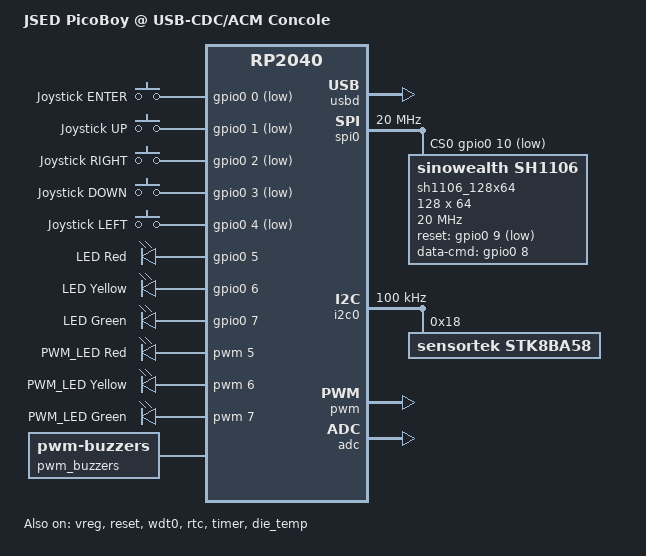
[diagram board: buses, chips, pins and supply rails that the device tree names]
/*
 * SPDX-FileCopyrightText: Copyright (c) 2023-2026 TiaC Systems
 * SPDX-License-Identifier: Apache-2.0
 */

/dts-v1/;

#include <freq.h>
#include <mem.h>

#include <raspberrypi/rpi_pico/rp2040.dtsi>
#include <raspberrypi/partitions_2M_default.dtsi>

#include <zephyr/dt-bindings/clock/rpi_pico_rp2040_clock.h>
#include <zephyr/dt-bindings/regulator/rpi_pico.h>

#include <zephyr/dt-bindings/gpio/gpio.h>
#include <zephyr/dt-bindings/i2c/i2c.h>
#include <zephyr/dt-bindings/pwm/pwm.h>

#include <zephyr/dt-bindings/input/input-event-codes.h>
#include <zephyr/dt-bindings/lvgl/lvgl.h>

#include <zephyr/dt-bindings/sensor/stk8ba58.h>

#include "picoboy-pinctrl.dtsi"

/ {
	model = "JSED PicoBoy @ USB-CDC/ACM Concole";
	compatible = "jsed,picoboy",
		     "jsed,picoboy-usbcons";

	chosen {
		zephyr,sram = &sram0;
		zephyr,flash = &flash0;
		zephyr,flash-controller = &ssi;
		zephyr,code-partition = &code_partition;
		zephyr,console = &cdc_acm_console_uart;
		zephyr,shell-uart = &cdc_acm_console_uart;
		zephyr,display = &oled_panel;
	};

	aliases {
		watchdog0 = &wdt0;
		sw0 = &joystick_enter;
		sw1 = &joystick_up;
		sw2 = &joystick_right;
		sw3 = &joystick_down;
		sw4 = &joystick_left;
		led0 = &led0;
		led1 = &led1;
		led2 = &led2;
		pwm-led0 = &pwm_led0;
		pwm-led1 = &pwm_led1;
		pwm-led2 = &pwm_led2;
		pwm-buzzer0 = &pwm_speaker0;
		accel0 = &stk8ba58;
	};

	lvgl_keypad: lvgl-keypad {
		compatible = "zephyr,lvgl-keypad-input";
		input = <&gpio_keys>;
		input-codes = <INPUT_KEY_LEFT INPUT_KEY_RIGHT
			       INPUT_KEY_UP INPUT_KEY_DOWN
			       INPUT_KEY_ENTER>;
		lvgl-codes = <LV_KEY_LEFT LV_KEY_RIGHT
			      LV_KEY_UP LV_KEY_DOWN
			      LV_KEY_ENTER>;
	};

	gpio_keys: gpio_keys {
		compatible = "gpio-keys";

		joystick_enter: joystick_enter {
			gpios = <&gpio0 0 (GPIO_PULL_UP | GPIO_ACTIVE_LOW)>;
			zephyr,code = <INPUT_KEY_ENTER>;
			label = "Joystick ENTER";
		};
		joystick_up: joystick_up {
			gpios = <&gpio0 1 (GPIO_PULL_UP | GPIO_ACTIVE_LOW)>;
			zephyr,code = <INPUT_KEY_UP>;
			label = "Joystick UP";
		};
		joystick_right: joystick_right {
			gpios = <&gpio0 2 (GPIO_PULL_UP | GPIO_ACTIVE_LOW)>;
			zephyr,code = <INPUT_KEY_RIGHT>;
			label = "Joystick RIGHT";
		};
		joystick_down: joystick_down {
			gpios = <&gpio0 3 (GPIO_PULL_UP | GPIO_ACTIVE_LOW)>;
			zephyr,code = <INPUT_KEY_DOWN>;
			label = "Joystick DOWN";
		};
		joystick_left: joystick_left {
			gpios = <&gpio0 4 (GPIO_PULL_UP | GPIO_ACTIVE_LOW)>;
			zephyr,code = <INPUT_KEY_LEFT>;
			label = "Joystick LEFT";
		};
	};

	gpio_leds: gpio_leds {
		compatible = "gpio-leds";

		led0: led_red {
			gpios = <&gpio0 5 GPIO_ACTIVE_HIGH>;
			label = "LED Red";
		};
		led1: led_yellow {
			gpios = <&gpio0 6 GPIO_ACTIVE_HIGH>;
			label = "LED Yellow";
		};
		led2: led_green {
			gpios = <&gpio0 7 GPIO_ACTIVE_HIGH>;
			label = "LED Green";
		};
	};

	pwm_leds: pwm_leds {
		compatible = "pwm-leds";

		pwm_led0: pwm_led_red {
			pwms = <&pwm 5 PWM_MSEC(20) PWM_POLARITY_NORMAL>;
			label = "PWM_LED Red";
		};
		pwm_led1: pwm_led_yellow {
			pwms = <&pwm 6 PWM_MSEC(20) PWM_POLARITY_NORMAL>;
			label = "PWM_LED Yellow";
		};
		pwm_led2: pwm_led_green {
			pwms = <&pwm 7 PWM_MSEC(20) PWM_POLARITY_NORMAL>;
			label = "PWM_LED Green";
		};
	};

	pwm_buzzers {
		compatible = "pwm-buzzers";
		status = "okay";

		pwm_speaker0: pwm_speaker0 {
			pwms = <&pwm 15 PWM_HZ(880) PWM_POLARITY_NORMAL>;
			label = "PWM_SPEAKER";
		};
	};
};

&flash0 {
	status = "okay";
	reg = <0x10000000 DT_SIZE_M(2)>;
	ranges = <0x0 0x10000000 DT_SIZE_M(2)>;
};

&clocks {
	status = "okay";
	pinctrl-0 = <&clocks_default>;
	pinctrl-names = "default";
};

&vreg {
	status = "okay";
	regulator-always-on;
	regulator-allowed-modes = <REGULATOR_RPI_PICO_MODE_NORMAL>;
};

&reset {
	status = "okay";
};

&wdt0 {
	status = "okay";
};

&rtc {
	clocks = <&clocks RPI_PICO_CLKID_CLK_RTC>;
	status = "okay";
};

&timer {
	status = "okay";
};

&dma {
	status = "okay";
};

&die_temp {
	status = "okay";
	friendly-name = "RP2040 chip temperature";
};

zephyr_udc0: &usbd {
	status = "okay";

	cdc_acm_console_uart: cdc_acm_console_uart {
		compatible = "zephyr,cdc-acm-uart";
	};
};

&uart1 {
	status = "disabled";
	pinctrl-0 = <&uart1_default>;
	pinctrl-names = "default";
	current-speed = <115200>;
	data-bits = <8>;
	parity = "none";
	stop-bits = "1";
};

&spi0 {
	status = "okay";
	pinctrl-0 = <&spi0_default>;
	pinctrl-names = "default";
	clock-frequency = <DT_FREQ_M(20)>;

	/* GP10 as CSn to SH1106 OLED panel controller. */
	cs-gpios = <&gpio0 10 GPIO_ACTIVE_LOW>;

	/* OLED with SH1106 controller. */
	sh1106_128x64: sh1106_128x64@0 {
		compatible = "sinowealth,sh1106";
		status = "okay";

		reg = <0>;
		ready-time-ms = <0>;
		spi-max-frequency = <DT_FREQ_M(20)>;

		reset-gpios = <&gpio0 9 GPIO_ACTIVE_LOW>;
		data-cmd-gpios = <&gpio0 8 GPIO_ACTIVE_HIGH>;

		width = <128>;
		height = <64>;

		segment-offset = <2>;
		page-offset = <0>;
		display-offset = <0>;
		multiplex-ratio = <63>;
		prechargep = <0x22>;

		segment-remap;
		com-invdir;
	};
};

oled_panel: &sh1106_128x64 {};

&i2c0 {
	status = "okay";
	pinctrl-0 = <&i2c0_default>;
	pinctrl-names = "default";
	clock-frequency = <I2C_BITRATE_STANDARD>;

	/* Accelerometer with STK8BA58 sensor. */
	stk8ba58: stk8ba58@18 {
		compatible = "sensortek,stk8ba58";
		friendly-name = "on-board accelerometer";
		status = "okay";

		reg = <0x18>;

		power-mode = <STK8BA58_DT_LOW_POWER_25ms>;
		odr = <STK8BA58_DT_ODR_250Hz>;
		range = <2>;
	};
};

&pwm {
	status = "okay";
	pinctrl-0 = <&pwm_default>;
	pinctrl-names = "default";
	divider-frac-2 = <15>;
	divider-int-2 = <255>;	/* led:    PWM2CHB (5) */
	divider-frac-3 = <15>;	/* led:    PWM3CHA (6) */
	divider-int-3 = <255>;	/* led:    PWM3CHB (7) */
	divider-int-7 = <255>;	/* buzzer: PWM7CHB (15) */
};

&adc {
	status = "okay";
	pinctrl-0 = <&adc_default>;
	pinctrl-names = "default";
};

&gpio0 {
	status = "okay";
	/* namespace and positions without wired bits */
	gpio-reserved-ranges = <11 4>, <22 8>;
	gpio-line-names =
		"JOY_ENTER",		/* GP0 */
		"JOY_UP",		/* GP1 */
		"JOY_RIGHT",		/* GP2 */
		"JOY_DOWN",		/* GP3 */
		"JOY_LEFT",		/* GP4 */
		"LED_RED",		/* GP5 */
		"LED_YELLOW",		/* GP6 */
		"LED_GREEN",		/* GP7 */
		"OLED_DC",		/* GP8 */
		"OLED_RST",		/* GP9 */
		"OLED_CSN_SW",		/* GP10 */
		"",			/* GP11 */
		"",			/* GP12 */
		"",			/* GP13 */
		"",			/* GP14 */
		"SPK_PWM15",		/* GP15 */
		"OLED_SDI0",		/* GP16 */
		"OLED_CSN0_HW",		/* GP17 */
		"OLED_SCK0",		/* GP18 */
		"OLED_SDO0",		/* GP19 */
		"SENS_SDA0_TX1",	/* GP20 */
		"SENS_SCL0_RX1",	/* GP21 */
		"",			/* GP22 */
		"",			/* GP23 */
		"",			/* GP24 */
		"",			/* GP25 */
		"",			/* GP26 */
		"",			/* GP27 */
		"",			/* GP28 */
		"";			/* GP29 */
};
